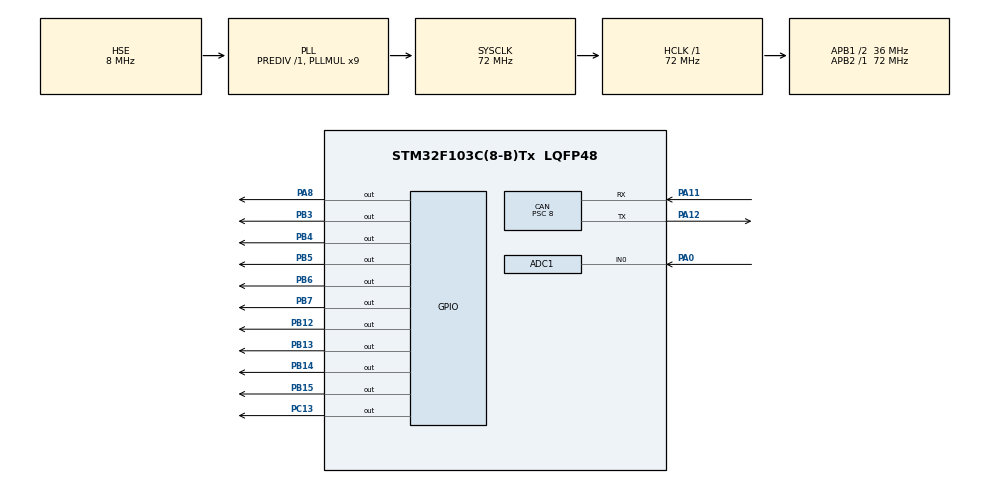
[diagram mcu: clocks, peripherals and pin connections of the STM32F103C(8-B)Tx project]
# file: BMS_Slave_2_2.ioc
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ADC1.Channel-0\#ChannelRegularConversion=ADC_CHANNEL_0
ADC1.NbrOfConversionFlag=1
ADC1.Rank-0\#ChannelRegularConversion=1
ADC1.SamplingTime-0\#ChannelRegularConversion=ADC_SAMPLETIME_1CYCLE_5
ADC1.master=1
CAN.BS1=CAN_BS1_4TQ
CAN.BS2=CAN_BS2_4TQ
CAN.CalculateBaudRate=500000
CAN.CalculateTimeBit=2000
CAN.CalculateTimeQuantum=222.22222222222223
CAN.Prescaler=8
Mcu.Family=STM32F1
Mcu.Name=STM32F103C(8-B)Tx
Mcu.Package=LQFP48
NVIC.PriorityGroup=NVIC_PRIORITYGROUP_4
PA0-WKUP.Signal=ADCx_IN0
PA11.Mode=CAN_Activate
PA11.Signal=CAN_RX
PA12.Mode=CAN_Activate
PA12.Signal=CAN_TX
PA13.Mode=Serial_Wire
PA13.Signal=SYS_JTMS-SWDIO
PA14.Mode=Serial_Wire
PA14.Signal=SYS_JTCK-SWCLK
PA8.Signal=GPIO_Output
PB12.Signal=GPIO_Output
PB13.Signal=GPIO_Output
PB14.Signal=GPIO_Output
PB15.Signal=GPIO_Output
PB3.Signal=GPIO_Output
PB4.Signal=GPIO_Output
PB5.Signal=GPIO_Output
PB6.Signal=GPIO_Output
PB7.Signal=GPIO_Output
PC13-TAMPER-RTC.Signal=GPIO_Output
PD0-OSC_IN.Mode=HSE-External-Oscillator
PD0-OSC_IN.Signal=RCC_OSC_IN
PD1-OSC_OUT.Mode=HSE-External-Oscillator
PD1-OSC_OUT.Signal=RCC_OSC_OUT
ProjectManager.HeapSize=0x200
ProjectManager.StackSize=0x400
ProjectManager.TargetToolchain=STM32CubeIDE
RCC.ADCPresc=RCC_ADCPCLK2_DIV6
RCC.AHBFreq_Value=72000000
RCC.APB1CLKDivider=RCC_HCLK_DIV2
RCC.APB1Freq_Value=36000000
RCC.APB1TimFreq_Value=72000000
RCC.APB2Freq_Value=72000000
RCC.APB2TimFreq_Value=72000000
RCC.HCLKFreq_Value=72000000
RCC.PLLMUL=RCC_PLL_MUL9
RCC.PLLSourceVirtual=RCC_PLLSOURCE_HSE
RCC.SYSCLKFreq_VALUE=72000000
RCC.SYSCLKSource=RCC_SYSCLKSOURCE_PLLCLK
RCC.USBFreq_Value=72000000
SH.ADCx_IN0.0=ADC1_IN0,IN0
board=custom

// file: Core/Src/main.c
/* USER CODE BEGIN Header */
/**
  ******************************************************************************
  * @file           : main.c
  * @brief          : Main program body
  ******************************************************************************
  * @attention
  *
  * Copyright (c) 2024 STMicroelectronics.
  * All rights reserved.
  *
  * This software is licensed under terms that can be found in the LICENSE file
  * in the root directory of this software component.
  * If no LICENSE file comes with this software, it is provided AS-IS.
  *
  ******************************************************************************
  */
/* USER CODE END Header */
#include "main.h"

/* USER CODE BEGIN Includes */
#include "main.h"
#include <math.h>

/* USER CODE END Includes */

ADC_HandleTypeDef hadc1;

CAN_HandleTypeDef hcan;

/* USER CODE BEGIN PV */
uint16_t adc1, adc2;
int count=0;
int counter=0;
int i=0;
int flag=0;
int j=0;
int b_con;
float temp1;
float temp2;
float voltage11;
float voltage12;
float voltage13;
float voltage14;
float voltage15;
float voltage16;
float voltage17;
float voltage18;
float voltage19;
float voltage20;
float maxvalue;
float minvalue;
int maxindex;
int minindex;
float voltages[10]={};

uint32_t TxMailbox;
float sendData[2];
float voltages[10];

/* USER CODE END PV */

void SystemClock_Config(void);
static void MX_GPIO_Init(void);
static void MX_ADC1_Init(void);
static void MX_CAN_Init(void);
/* USER CODE BEGIN PFP */
double Thermistor(uint16_t analogValue){
    // Sıfıra bölme hatasını önlemek için kontrol ekleyin
    if (analogValue == 0) {
        return -273.15; // Hata durumunda düşük bir sıcaklık döndürün
    }

    // ADC çözünürlüğü ve direnç hesaplaması
    double resistance = ((40950000.0 / analogValue) - 10000);
    double temperature;

    // Direnç logaritmasını alın
    temperature = log(resistance);

    // Sıcaklık hesaplaması (Steinhart-Hart denklemi)
    temperature = 1 / (0.001129148 + (0.000234125 + (0.0000000876741 * temperature * temperature)) * temperature);
    temperature = temperature - 273.15;

    return temperature;
}
/* USER CODE END PFP */

/* USER CODE BEGIN 0 */
CAN_TxHeaderTypeDef TxHeader;
/* USER CODE END 0 */

int main(void)
{

  /* MCU Configuration--------------------------------------------------------*/

  /* Reset of all peripherals, Initializes the Flash interface and the Systick. */
  HAL_Init();

  /* Configure the system clock */
  SystemClock_Config();

  /* Initialize all configured peripherals */
  MX_GPIO_Init();
  MX_ADC1_Init();
  MX_CAN_Init();
  /* USER CODE BEGIN 2 */
  HAL_StatusTypeDef ret;
  ret = HAL_ADCEx_Calibration_Start(&hadc1);
  if(ret != HAL_OK){
	  Error_Handler();
  }
  HAL_Delay(10);
  HAL_GPIO_WritePin(GPIOC, GPIO_PIN_13, 1);

  HAL_CAN_Start(&hcan);
  TxHeader.DLC = 8;
  TxHeader.IDE = CAN_ID_EXT;
  TxHeader.RTR = CAN_RTR_DATA;

  /* USER CODE END 2 */

  /* Infinite loop */
  while (1)
  {

    /* USER CODE BEGIN 3 */
	  HAL_GPIO_WritePin(GPIOB, GPIO_PIN_12, 1);  // Analog reading MUX is started close

	  // Voltage Measurement
	  	 	  switch(count){

	  	 	case 0:
	  	 		HAL_GPIO_WritePin(GPIOB, GPIO_PIN_13, 0);	//S3
	  	 		HAL_GPIO_WritePin(GPIOB, GPIO_PIN_14, 0);	//S2
	  	 		HAL_GPIO_WritePin(GPIOB, GPIO_PIN_15, 0);	//S1
	  	 		HAL_GPIO_WritePin(GPIOA, GPIO_PIN_8, 0); //S0
	  	 		HAL_Delay(100);
	  	 		HAL_GPIO_WritePin(GPIOB, GPIO_PIN_12, 0);	//E
	  	 		HAL_ADC_Start(&hadc1);
	  	 		HAL_ADC_PollForConversion(&hadc1, 100);
	  	 		adc1= HAL_ADC_GetValue(&hadc1);
	  	 		voltage11= ((adc1*3.282)/4095.0)*(14.960);
	  	 		HAL_Delay(500);
	  	 		break;

	  	 	case 1:
	  	 		HAL_GPIO_WritePin(GPIOB, GPIO_PIN_13, 0);	//S3
	  	 		HAL_GPIO_WritePin(GPIOB, GPIO_PIN_14, 0);	//S2
	  	 		HAL_GPIO_WritePin(GPIOB, GPIO_PIN_15, 0);	//S1
	  	 		HAL_GPIO_WritePin(GPIOA, GPIO_PIN_8, 1); //S0
	  	 		HAL_Delay(10);
	  	 		HAL_GPIO_WritePin(GPIOB, GPIO_PIN_12, 0);	//E
	  	 		HAL_ADC_Start(&hadc1);
	  	 		HAL_ADC_PollForConversion(&hadc1, 100);
	  	 		adc1= HAL_ADC_GetValue(&hadc1);
	  	 		voltage12= ((adc1*3.282)/4095.0)*(15.257);
	  	 		HAL_Delay(500);
	  	 		break;

	 	  	  case 2:
	 	  		  HAL_GPIO_WritePin(GPIOB, GPIO_PIN_13, 0);	//S3
	 	  		  HAL_GPIO_WritePin(GPIOB, GPIO_PIN_14, 0);	//S2
	 	  		  HAL_GPIO_WritePin(GPIOB, GPIO_PIN_15, 1);	//S1
	 	  		  HAL_GPIO_WritePin(GPIOA, GPIO_PIN_8, 0); //S0
	 	  		  HAL_Delay(10);
	 	  		  HAL_GPIO_WritePin(GPIOB, GPIO_PIN_12, 0);	//E
	 	  		  HAL_ADC_Start(&hadc1);
	 	   		  HAL_ADC_PollForConversion(&hadc1, 100);
	 	  		  adc1= HAL_ADC_GetValue(&hadc1);
	 	  		  voltage13= ((adc1*3.282)/4095.0)*(15.360);
	 	  		  HAL_Delay(500);
	 	  		  break;

	 	  	  case 3:
	 	  		  HAL_GPIO_WritePin(GPIOB, GPIO_PIN_13, 0);	//S3
	 	  		  HAL_GPIO_WritePin(GPIOB, GPIO_PIN_14, 0);	//S2
	 	  		  HAL_GPIO_WritePin(GPIOB, GPIO_PIN_15, 1);	//S1
	 	  		  HAL_GPIO_WritePin(GPIOA, GPIO_PIN_8, 1); //S0
	 	  		  HAL_Delay(10);
	 	  		  HAL_GPIO_WritePin(GPIOB, GPIO_PIN_12, 0);	//E
	 	  		  HAL_ADC_Start(&hadc1);
	 	   		  HAL_ADC_PollForConversion(&hadc1, 100);
	 	  		  adc1= HAL_ADC_GetValue(&hadc1);
	 	  		  voltage14= ((adc1*3.282)/4095.0)*(15.320);
	 	  		  HAL_Delay(500);
	 	  		  break;

	 	  	  case 4:
	 	  		  HAL_GPIO_WritePin(GPIOB, GPIO_PIN_13, 0);	//S3
	 	  		  HAL_GPIO_WritePin(GPIOB, GPIO_PIN_14, 1);	//S2
	 	  		  HAL_GPIO_WritePin(GPIOB, GPIO_PIN_15, 0);	//S1
	 	  		  HAL_GPIO_WritePin(GPIOA, GPIO_PIN_8, 0); //S0
	 	  		  HAL_Delay(10);
	 	  		  HAL_GPIO_WritePin(GPIOB, GPIO_PIN_12, 0);	//E
	 	  		  HAL_ADC_Start(&hadc1);
	 	   		  HAL_ADC_PollForConversion(&hadc1, 100);
	 	  		  adc1= HAL_ADC_GetValue(&hadc1);
	 	  		  voltage15= ((adc1*3.282)/4095.0)*(15.104);
	 	  		  HAL_Delay(500);
	 	  		  break;

	 	  	  case 5:
	 	  		  HAL_GPIO_WritePin(GPIOB, GPIO_PIN_13, 0);	//S3
	 	  		  HAL_GPIO_WritePin(GPIOB, GPIO_PIN_14, 1);	//S2
	 	  		  HAL_GPIO_WritePin(GPIOB, GPIO_PIN_15, 0);	//S1
	 	  		  HAL_GPIO_WritePin(GPIOA, GPIO_PIN_8, 1); //S0
	 	  		  HAL_Delay(10);
	 	  		  HAL_GPIO_WritePin(GPIOB, GPIO_PIN_12, 0);	//E
	 	  		  HAL_ADC_Start(&hadc1);
	 	   		  HAL_ADC_PollForConversion(&hadc1, 100);
	 	  		  adc1= HAL_ADC_GetValue(&hadc1);
	 	  		  voltage16= ((adc1*3.282)/4095.0)*(15.138);
	 	  		  HAL_Delay(500);
	 	  		  break;

	 	  	  case 6:
	 	  		  HAL_GPIO_WritePin(GPIOB, GPIO_PIN_13, 0);	//S3
	 	  		  HAL_GPIO_WritePin(GPIOB, GPIO_PIN_14, 1);	//S2
	 	  		  HAL_GPIO_WritePin(GPIOB, GPIO_PIN_15, 1);	//S1
	 	  		  HAL_GPIO_WritePin(GPIOA, GPIO_PIN_8, 0); //S0
	 	  		  HAL_GPIO_WritePin(GPIOB, GPIO_PIN_12, 0);	//E
	 	  		  HAL_Delay(10);
	 	  		  HAL_ADC_Start(&hadc1);
	 	   		  HAL_ADC_PollForConversion(&hadc1, 100);
	 	  		  adc1= HAL_ADC_GetValue(&hadc1);
	 	  		  voltage17= ((adc1*3.282)/4095.0)*(15.039);
	 	  		  HAL_Delay(500);
	 	  		  break;

	 	  	  case 7:
	 	  		  HAL_GPIO_WritePin(GPIOB, GPIO_PIN_13, 0);	//S3
	 	  		  HAL_GPIO_WritePin(GPIOB, GPIO_PIN_14, 1);	//S2
	 	  		  HAL_GPIO_WritePin(GPIOB, GPIO_PIN_15, 1);	//S1
	 	  		  HAL_GPIO_WritePin(GPIOA, GPIO_PIN_8, 1); //S0
	 	  		  HAL_Delay(10);
	 	  		  HAL_GPIO_WritePin(GPIOB, GPIO_PIN_12, 0);	//E
	 	  		  HAL_ADC_Start(&hadc1);
	 	   		  HAL_ADC_PollForConversion(&hadc1, 100);
	 	  		  adc1= HAL_ADC_GetValue(&hadc1);
	 	  		  voltage18= ((adc1*3.282)/4095.0)*(17.934);
	 	  		  HAL_Delay(500);
	 	  		  break;

	 	  	  case 8:
	 	  		  HAL_GPIO_WritePin(GPIOB, GPIO_PIN_13, 1);	//S3
	 	  		  HAL_GPIO_WritePin(GPIOB, GPIO_PIN_14, 0);	//S2
	 	  		  HAL_GPIO_WritePin(GPIOB, GPIO_PIN_15, 0);	//S1
	 	  		  HAL_GPIO_WritePin(GPIOA, GPIO_PIN_8, 0); //S0
	 	  		  HAL_Delay(10);
	 	  		  HAL_GPIO_WritePin(GPIOB, GPIO_PIN_12, 0);	//E
	 	  		  HAL_ADC_Start(&hadc1);
	 	   		  HAL_ADC_PollForConversion(&hadc1, 100);
	 	  		  adc1= HAL_ADC_GetValue(&hadc1);
	 	  		  voltage19= ((adc1*3.282)/4095.0)*(18.182);
	 	  		  HAL_Delay(500);
	 	  		  break;

	 	  	  case 9:
	 	  		  HAL_GPIO_WritePin(GPIOB, GPIO_PIN_13, 1);	//S3
	 	  		  HAL_GPIO_WritePin(GPIOB, GPIO_PIN_14, 0);	//S2
	 	  		  HAL_GPIO_WritePin(GPIOB, GPIO_PIN_15, 0);	//S1
	 	  		  HAL_GPIO_WritePin(GPIOA, GPIO_PIN_8, 1); //S0
	 	  		  HAL_Delay(10);
	 	  		  HAL_GPIO_WritePin(GPIOB, GPIO_PIN_12, 0);	//E
	 	  		  HAL_ADC_Start(&hadc1);
	 	   		  HAL_ADC_PollForConversion(&hadc1, 100);
	 	  		  adc1= HAL_ADC_GetValue(&hadc1);
	 	  		  voltage20= ((adc1*3.282)/4095.0)*(17.934);
	 	  		  HAL_Delay(500);
	 	  		  break;

	 	  	 case 10:
	 			  HAL_GPIO_WritePin(GPIOB, GPIO_PIN_13, 1);	//S3
	 			  HAL_GPIO_WritePin(GPIOB, GPIO_PIN_14, 0);	//S2
	 			  HAL_GPIO_WritePin(GPIOB, GPIO_PIN_15, 1);	//S1
	 			  HAL_GPIO_WritePin(GPIOA, GPIO_PIN_8, 0); //S0
	 			  HAL_Delay(10);
	 			  HAL_GPIO_WritePin(GPIOB, GPIO_PIN_12, 0);	//E
	 			  HAL_ADC_Start(&hadc1);
	 			  adc1 = HAL_ADC_GetValue(&hadc1);
	 			  temp1 = Thermistor(adc1);
	 			  HAL_Delay(500);
	 			 break;

	 	  	 case 11:
	 	  		 HAL_GPIO_WritePin(GPIOB, GPIO_PIN_13, 1);	//S3
	 	  		 HAL_GPIO_WritePin(GPIOB, GPIO_PIN_14, 0);	//S2
	 	  		 HAL_GPIO_WritePin(GPIOB, GPIO_PIN_15, 1);	//S1
	 	  		 HAL_GPIO_WritePin(GPIOA, GPIO_PIN_8, 1); //S0
	 	  		 HAL_Delay(10);
	 	  		 HAL_GPIO_WritePin(GPIOB, GPIO_PIN_12, 0);	//E
	 	  		 HAL_ADC_Start(&hadc1);
	 	  		 adc1 = HAL_ADC_GetValue(&hadc1);
	 	  		 temp2 = Thermistor(adc1);
	 	  		 HAL_Delay(500);
	 	  		 break;

	  	 	  }

	 	 	 float voltages[10]= {voltage11,voltage12,voltage13,voltage14,voltage15,voltage16,voltage17,voltage18,voltage19,voltage20};
	 	 	 	  	  	 maxvalue=0;
	 	 	 	  	  	 maxindex=0;
	 	 	 	  	  	 minvalue=5;
	 	 	 	  	  	 minindex=0;
	 	 	 	  	  	  for(i=0; i<10; i++){
	 	 	 	  	  		  if(maxvalue < voltages[i]){
	 	 	 	  	  			  maxvalue = voltages[i];
	 	 	 	  	  			  maxindex = i+1;
	 	 	 	  	  		  }
	 	 	 	  	  		  if(minvalue > voltages[i]){
	 	 	 	  	  		  	  minvalue = voltages[i];
	 	 	 	  	  		  	  minindex = i+1;
	 	 	 	  	   		  }
	 	 	 	  	  	  	  	  	  }

	 	 	 if(maxvalue-minvalue > 0.1 && maxvalue > 3.5 && b_con==0){
	 	 	 	  	  		  flag = maxindex -1;
	 	 	 	  	  	  }

	 	 	 // CANBUS
 		 	 TxHeader.ExtId = 0x0FFFFFE0;
 		 	 sendData[0] = voltage11;
 		 	 sendData[1] = voltage12;
 		 	 HAL_CAN_AddTxMessage(&hcan, &TxHeader, sendData, &TxMailbox);
 		 	 HAL_Delay(10);

 		 	 TxHeader.ExtId = 0x0FFFFFE1;
 		 	 sendData[0] = voltage13;
 		 	 sendData[1] = voltage14;
 		 	 HAL_CAN_AddTxMessage(&hcan, &TxHeader, sendData, &TxMailbox);
 		 	 HAL_Delay(10);

 		 	 TxHeader.ExtId = 0x0FFFFFE2;
 		 	 sendData[0] = voltage15;
 		 	 sendData[1] = voltage16;
 		 	 HAL_CAN_AddTxMessage(&hcan, &TxHeader, sendData, &TxMailbox);
 		 	 HAL_Delay(10);

 		 	 TxHeader.ExtId = 0x0FFFFFE3;
 		 	 sendData[0] = voltage17;
 		 	 sendData[1] = voltage18;
 		 	 HAL_CAN_AddTxMessage(&hcan, &TxHeader, sendData, &TxMailbox);
 		 	 HAL_Delay(10);

 		 	 TxHeader.ExtId = 0x0FFFFFE4;
 		 	 sendData[0] = voltage19;
 		 	 sendData[1] = voltage20;
 		 	 HAL_CAN_AddTxMessage(&hcan, &TxHeader, sendData, &TxMailbox);
 		 	 HAL_Delay(10);

 		 	 TxHeader.ExtId = 0x0FFFFFE5;
 		 	 sendData[0] = temp1;
 		 	 sendData[1] = temp2;
 		 	 HAL_CAN_AddTxMessage(&hcan, &TxHeader, sendData, &TxMailbox);
 		 	 HAL_Delay(10);

	 	 	// Balancing Mux
	 	 		 	switch(flag){

	 	 	  	  	  case 0:
	 	 	  	  	   HAL_GPIO_WritePin(GPIOB, GPIO_PIN_7, 0); //B3
	 	 	  	  	   HAL_GPIO_WritePin(GPIOB, GPIO_PIN_6, 0);	//B2
	 	 	  	  	   HAL_GPIO_WritePin(GPIOB, GPIO_PIN_4, 0);	//B1
	 	 	  	  	   HAL_GPIO_WritePin(GPIOB, GPIO_PIN_3, 0);	//B0
	 	 	  	  	   HAL_Delay(10);
	 	 	  	  	   HAL_GPIO_WritePin(GPIOB, GPIO_PIN_5, 0); //E
	 	 	  	  	   break;

	  		  		  case 1:
	  		  			  HAL_GPIO_WritePin(GPIOB, GPIO_PIN_7, 0);	//B3
	  		  			  HAL_GPIO_WritePin(GPIOB, GPIO_PIN_6, 0);	//B2
	  		  			  HAL_GPIO_WritePin(GPIOB, GPIO_PIN_4, 0);	//B1
	  		  			  HAL_GPIO_WritePin(GPIOB, GPIO_PIN_3, 1);	//B0
	  		  			  HAL_Delay(10);
	  		  			  HAL_GPIO_WritePin(GPIOB, GPIO_PIN_5, 0);	//E
	  		  			  break;

	  		  		  case 2:
	  		  			  HAL_GPIO_WritePin(GPIOB, GPIO_PIN_7, 0);	//B3
	  		  			  HAL_GPIO_WritePin(GPIOB, GPIO_PIN_6, 0);	//B2
	  		  			  HAL_GPIO_WritePin(GPIOB, GPIO_PIN_4, 1);	//B1
	  		  			  HAL_GPIO_WritePin(GPIOB, GPIO_PIN_3, 0);	//B0
	  		  			  HAL_Delay(10);
	  		  			  HAL_GPIO_WritePin(GPIOB, GPIO_PIN_5, 0);	//E
	  		  			  break;

	 		  		  case 3:
	 		  			  HAL_GPIO_WritePin(GPIOB, GPIO_PIN_7, 0);	//B3
	 		  			  HAL_GPIO_WritePin(GPIOB, GPIO_PIN_6, 0);	//B2
	 		  			  HAL_GPIO_WritePin(GPIOB, GPIO_PIN_4, 1);	//B1
	 		  			  HAL_GPIO_WritePin(GPIOB, GPIO_PIN_3, 1);	//B0
	 		  			  HAL_Delay(10);
	 		  			  HAL_GPIO_WritePin(GPIOB, GPIO_PIN_5, 0);	//E
	 		  			  break;

	 		  		  case 4:
	 		  			  HAL_GPIO_WritePin(GPIOB, GPIO_PIN_7, 0);	//B3
	 		  			  HAL_GPIO_WritePin(GPIOB, GPIO_PIN_6, 1);	//B2
	 		  			  HAL_GPIO_WritePin(GPIOB, GPIO_PIN_4, 0);	//B1
	 		  			  HAL_GPIO_WritePin(GPIOB, GPIO_PIN_3, 0);	//B0
	 		  			  HAL_Delay(10);
	 		  			  HAL_GPIO_WritePin(GPIOB, GPIO_PIN_5, 0);	//E
	 		  			  break;

			  		  case 5:
			  			  HAL_GPIO_WritePin(GPIOB, GPIO_PIN_7, 0);	//B3
			  			  HAL_GPIO_WritePin(GPIOB, GPIO_PIN_6, 1);	//B2
			  			  HAL_GPIO_WritePin(GPIOB, GPIO_PIN_4, 0);	//B1
			  			  HAL_GPIO_WritePin(GPIOB, GPIO_PIN_3, 1);	//B0
			  			  HAL_Delay(10);
			  			  HAL_GPIO_WritePin(GPIOB, GPIO_PIN_5, 0);	//E
			  			  break;

			  		  case 6:
			  			  HAL_GPIO_WritePin(GPIOB, GPIO_PIN_7, 0);	//B3
			  			  HAL_GPIO_WritePin(GPIOB, GPIO_PIN_6, 1);	//B2
			  			  HAL_GPIO_WritePin(GPIOB, GPIO_PIN_4, 1);	//B1
			  			  HAL_GPIO_WritePin(GPIOB, GPIO_PIN_3, 0);	//B0
			  			  HAL_Delay(10);
			  			  HAL_GPIO_WritePin(GPIOB, GPIO_PIN_5, 0);	//E
			  			  break;

			  		  case 7:
			  			  HAL_GPIO_WritePin(GPIOB, GPIO_PIN_7, 0);	//B3
			  			  HAL_GPIO_WritePin(GPIOB, GPIO_PIN_6, 1);	//B2
			  			  HAL_GPIO_WritePin(GPIOB, GPIO_PIN_4, 1);	//B1
			  			  HAL_GPIO_WritePin(GPIOB, GPIO_PIN_3, 1);	//B0
			  			  HAL_Delay(10);
			  			  HAL_GPIO_WritePin(GPIOB, GPIO_PIN_5, 0);	//E
			  			  break;

			  		  case 8:
			  			  HAL_GPIO_WritePin(GPIOB, GPIO_PIN_7, 1);	//B3
			  			  HAL_GPIO_WritePin(GPIOB, GPIO_PIN_6, 0);	//B2
			  			  HAL_GPIO_WritePin(GPIOB, GPIO_PIN_4, 0);	//B1
			  			  HAL_GPIO_WritePin(GPIOB, GPIO_PIN_3, 0);	//B0
			  			  HAL_Delay(10);
			  			  HAL_GPIO_WritePin(GPIOB, GPIO_PIN_5, 0);	//E
			  			  break;

			  		  case 9:
			  			  HAL_GPIO_WritePin(GPIOB, GPIO_PIN_7, 1);	//B3
			  			  HAL_GPIO_WritePin(GPIOB, GPIO_PIN_6, 0);	//B2
			  			  HAL_GPIO_WritePin(GPIOB, GPIO_PIN_4, 0);	//B1
			  			  HAL_GPIO_WritePin(GPIOB, GPIO_PIN_3, 1);	//B0
			  			  HAL_Delay(10);
			  			  HAL_GPIO_WritePin(GPIOB, GPIO_PIN_5, 0);	//E
			  			  break;

	 	 		 	}

	 	 		 	HAL_Delay(100);
	 	 		 	count++;
	 	 		 	counter++;
	 	 		 	b_con = counter % 100;
	 	 		 	if(count>11){
	 	 		 		count=0;
	 	 		 	}
  }
  /* USER CODE END 3 */
}

void SystemClock_Config(void)
{
  RCC_OscInitTypeDef RCC_OscInitStruct = {0};
  RCC_ClkInitTypeDef RCC_ClkInitStruct = {0};
  RCC_PeriphCLKInitTypeDef PeriphClkInit = {0};

  /** Initializes the RCC Oscillators according to the specified parameters
  * in the RCC_OscInitTypeDef structure.
  */
  RCC_OscInitStruct.OscillatorType = RCC_OSCILLATORTYPE_HSE;
  RCC_OscInitStruct.HSEState = RCC_HSE_ON;
  RCC_OscInitStruct.HSEPredivValue = RCC_HSE_PREDIV_DIV1;
  RCC_OscInitStruct.HSIState = RCC_HSI_ON;
  RCC_OscInitStruct.PLL.PLLState = RCC_PLL_ON;
  RCC_OscInitStruct.PLL.PLLSource = RCC_PLLSOURCE_HSE;
  RCC_OscInitStruct.PLL.PLLMUL = RCC_PLL_MUL9;
  if (HAL_RCC_OscConfig(&RCC_OscInitStruct) != HAL_OK)
  {
    Error_Handler();
  }

  /** Initializes the CPU, AHB and APB buses clocks
  */
  RCC_ClkInitStruct.ClockType = RCC_CLOCKTYPE_HCLK|RCC_CLOCKTYPE_SYSCLK
                              |RCC_CLOCKTYPE_PCLK1|RCC_CLOCKTYPE_PCLK2;
  RCC_ClkInitStruct.SYSCLKSource = RCC_SYSCLKSOURCE_PLLCLK;
  RCC_ClkInitStruct.AHBCLKDivider = RCC_SYSCLK_DIV1;
  RCC_ClkInitStruct.APB1CLKDivider = RCC_HCLK_DIV2;
  RCC_ClkInitStruct.APB2CLKDivider = RCC_HCLK_DIV1;

  if (HAL_RCC_ClockConfig(&RCC_ClkInitStruct, FLASH_LATENCY_2) != HAL_OK)
  {
    Error_Handler();
  }
  PeriphClkInit.PeriphClockSelection = RCC_PERIPHCLK_ADC;
  PeriphClkInit.AdcClockSelection = RCC_ADCPCLK2_DIV6;
  if (HAL_RCCEx_PeriphCLKConfig(&PeriphClkInit) != HAL_OK)
  {
    Error_Handler();
  }
}

static void MX_ADC1_Init(void)
{

  ADC_ChannelConfTypeDef sConfig = {0};

  /** Common config
  */
  hadc1.Instance = ADC1;
  hadc1.Init.ScanConvMode = ADC_SCAN_DISABLE;
  hadc1.Init.ContinuousConvMode = DISABLE;
  hadc1.Init.DiscontinuousConvMode = DISABLE;
  hadc1.Init.ExternalTrigConv = ADC_SOFTWARE_START;
  hadc1.Init.DataAlign = ADC_DATAALIGN_RIGHT;
  hadc1.Init.NbrOfConversion = 1;
  if (HAL_ADC_Init(&hadc1) != HAL_OK)
  {
    Error_Handler();
  }

  /** Configure Regular Channel
  */
  sConfig.Channel = ADC_CHANNEL_0;
  sConfig.Rank = ADC_REGULAR_RANK_1;
  sConfig.SamplingTime = ADC_SAMPLETIME_1CYCLE_5;
  if (HAL_ADC_ConfigChannel(&hadc1, &sConfig) != HAL_OK)
  {
    Error_Handler();
  }

}

static void MX_CAN_Init(void)
{

  hcan.Instance = CAN1;
  hcan.Init.Prescaler = 8;
  hcan.Init.Mode = CAN_MODE_NORMAL;
  hcan.Init.SyncJumpWidth = CAN_SJW_1TQ;
  hcan.Init.TimeSeg1 = CAN_BS1_4TQ;
  hcan.Init.TimeSeg2 = CAN_BS2_4TQ;
  hcan.Init.TimeTriggeredMode = DISABLE;
  hcan.Init.AutoBusOff = DISABLE;
  hcan.Init.AutoWakeUp = DISABLE;
  hcan.Init.AutoRetransmission = DISABLE;
  hcan.Init.ReceiveFifoLocked = DISABLE;
  hcan.Init.TransmitFifoPriority = DISABLE;
  if (HAL_CAN_Init(&hcan) != HAL_OK)
  {
    Error_Handler();
  }
  /* USER CODE BEGIN CAN_Init 2 */
  CAN_FilterTypeDef canfilterconfig;

  canfilterconfig.FilterActivation = CAN_FILTER_ENABLE;
  canfilterconfig.FilterBank = 10;  // which filter bank to use from the assigned ones
  canfilterconfig.FilterFIFOAssignment = CAN_FILTER_FIFO0;
  canfilterconfig.FilterIdHigh = 0x000<<5;
  canfilterconfig.FilterIdLow = 0;
  canfilterconfig.FilterMaskIdHigh = 0x000<<5;
  canfilterconfig.FilterMaskIdLow = 0x0000;
  canfilterconfig.FilterMode = CAN_FILTERMODE_IDMASK;
  canfilterconfig.FilterScale = CAN_FILTERSCALE_32BIT;
  canfilterconfig.SlaveStartFilterBank = 13;  // how many filters to assign to the CAN1 (master can)

  HAL_CAN_ConfigFilter(&hcan, &canfilterconfig);
  /* USER CODE END CAN_Init 2 */

}

static void MX_GPIO_Init(void)
{
  GPIO_InitTypeDef GPIO_InitStruct = {0};

  /* GPIO Ports Clock Enable */
  __HAL_RCC_GPIOC_CLK_ENABLE();
  __HAL_RCC_GPIOD_CLK_ENABLE();
  __HAL_RCC_GPIOA_CLK_ENABLE();
  __HAL_RCC_GPIOB_CLK_ENABLE();

  /*Configure GPIO pin Output Level */
  HAL_GPIO_WritePin(GPIOC, GPIO_PIN_13, GPIO_PIN_RESET);

  /*Configure GPIO pin Output Level */
  HAL_GPIO_WritePin(GPIOB, GPIO_PIN_12|GPIO_PIN_13|GPIO_PIN_14|GPIO_PIN_15
                          |GPIO_PIN_3|GPIO_PIN_4|GPIO_PIN_5|GPIO_PIN_6
                          |GPIO_PIN_7, GPIO_PIN_RESET);

  /*Configure GPIO pin Output Level */
  HAL_GPIO_WritePin(GPIOA, GPIO_PIN_8, GPIO_PIN_RESET);

  /*Configure GPIO pin : PC13 */
  GPIO_InitStruct.Pin = GPIO_PIN_13;
  GPIO_InitStruct.Mode = GPIO_MODE_OUTPUT_PP;
  GPIO_InitStruct.Pull = GPIO_NOPULL;
  GPIO_InitStruct.Speed = GPIO_SPEED_FREQ_LOW;
  HAL_GPIO_Init(GPIOC, &GPIO_InitStruct);

  /*Configure GPIO pins : PB12 PB13 PB14 PB15
                           PB3 PB4 PB5 PB6
                           PB7 */
  GPIO_InitStruct.Pin = GPIO_PIN_12|GPIO_PIN_13|GPIO_PIN_14|GPIO_PIN_15
                          |GPIO_PIN_3|GPIO_PIN_4|GPIO_PIN_5|GPIO_PIN_6
                          |GPIO_PIN_7;
  GPIO_InitStruct.Mode = GPIO_MODE_OUTPUT_PP;
  GPIO_InitStruct.Pull = GPIO_NOPULL;
  GPIO_InitStruct.Speed = GPIO_SPEED_FREQ_LOW;
  HAL_GPIO_Init(GPIOB, &GPIO_InitStruct);

  /*Configure GPIO pin : PA8 */
  GPIO_InitStruct.Pin = GPIO_PIN_8;
  GPIO_InitStruct.Mode = GPIO_MODE_OUTPUT_PP;
  GPIO_InitStruct.Pull = GPIO_NOPULL;
  GPIO_InitStruct.Speed = GPIO_SPEED_FREQ_LOW;
  HAL_GPIO_Init(GPIOA, &GPIO_InitStruct);

}

void Error_Handler(void)
{
  __disable_irq();
  while (1)
  {
  }
}
